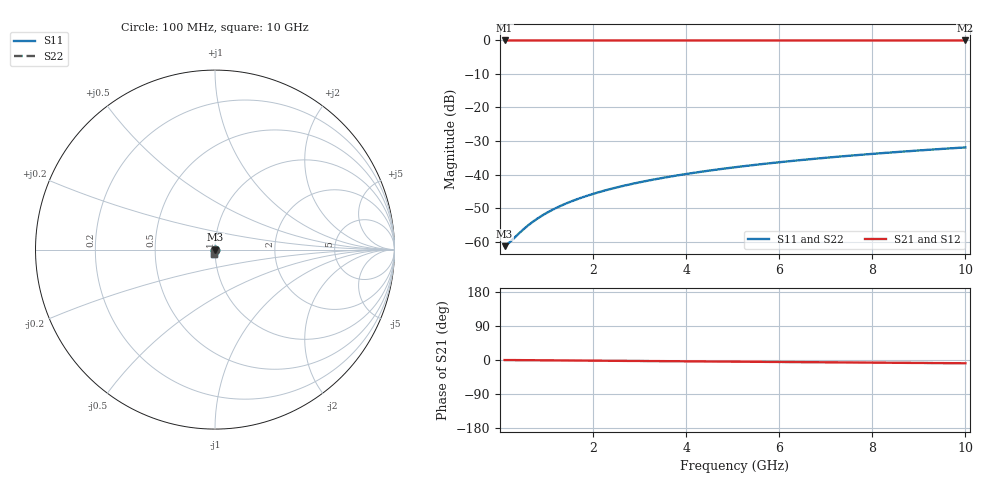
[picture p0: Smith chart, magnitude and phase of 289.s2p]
# Hz S RI R 50.00
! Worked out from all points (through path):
!   100 points, 100 MHz to 10 GHz, reference 50 ohm
!   highest |S21| = -0.01 dB at 100 MHz (marker M1); lowest = 0.0 dB at 10 GHz (marker M2)
!   group delay of S21, straight-line fit = 2.4 ps
!   lowest |S11| = -61.4 dB at 100 MHz (marker M3), VSWR 1.00, Z = 50.1 - j0.0255 ohm
!   |S11| at or under -10 dB: start of sweep to end of sweep
!   |S22| runs from -61.4 to -31.9 dB; largest |S21 - S12| = 0
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1e8  0.000815 -0.000255  0.9992 -0.0015  0.9992 -0.0015  0.000815 -0.000255
2e8  0.000819 -0.000509  0.9992 -0.00301  0.9992 -0.00301  0.000819 -0.000509
4e8  0.00082 -0.00102  0.9991 -0.00602  0.9991 -0.00602  0.00082 -0.00102
5e8  0.000818 -0.00127  0.9991 -0.00752  0.9991 -0.00752  0.000818 -0.00127
6e8  0.000816 -0.00153  0.9991 -0.00903  0.9991 -0.00903  0.000816 -0.00153
7e8  0.000812 -0.00178  0.9991 -0.0105  0.9991 -0.0105  0.000812 -0.00178
9e8  0.000802 -0.00229  0.9991 -0.0135  0.9991 -0.0135  0.000802 -0.00229
1.1e9  0.000789 -0.0028  0.999 -0.0165  0.999 -0.0165  0.000789 -0.0028
1.3e9  0.000772 -0.00331  0.9989 -0.0196  0.9989 -0.0196  0.000772 -0.00331
1.5e9  0.000752 -0.00382  0.9989 -0.0226  0.9989 -0.0226  0.000752 -0.00382
1.8e9  0.000716 -0.00458  0.9988 -0.0271  0.9988 -0.0271  0.000716 -0.00458
2.1e9  0.000673 -0.00535  0.9986 -0.0316  0.9986 -0.0316  0.000673 -0.00535
2.5e9  0.000604 -0.00637  0.9984 -0.0376  0.9984 -0.0376  0.000604 -0.00637
2.9e9  0.000522 -0.00738  0.9981 -0.0436  0.9981 -0.0436  0.000522 -0.00738
3.4e9  0.000403 -0.00865  0.9977 -0.0511  0.9977 -0.0511  0.000403 -0.00865
4.2e9  0.000172 -0.0107  0.997 -0.0632  0.997 -0.0632  0.000172 -0.0107
5.1e9  -0.000147 -0.013  0.996 -0.0767  0.996 -0.0767  -0.000147 -0.013
5.9e9  -0.000483 -0.015  0.995 -0.0887  0.995 -0.0887  -0.000483 -0.015
6.7e9  -0.000867 -0.017  0.9938 -0.1007  0.9938 -0.1007  -0.000867 -0.017
7.5e9  -0.0013 -0.019  0.9925 -0.1127  0.9925 -0.1127  -0.0013 -0.019
8.4e9  -0.00185 -0.0212  0.9908 -0.1262  0.9908 -0.1262  -0.00185 -0.0212
1e10  -0.00297 -0.0252  0.9873 -0.1501  0.9873 -0.1501  -0.00297 -0.0252
